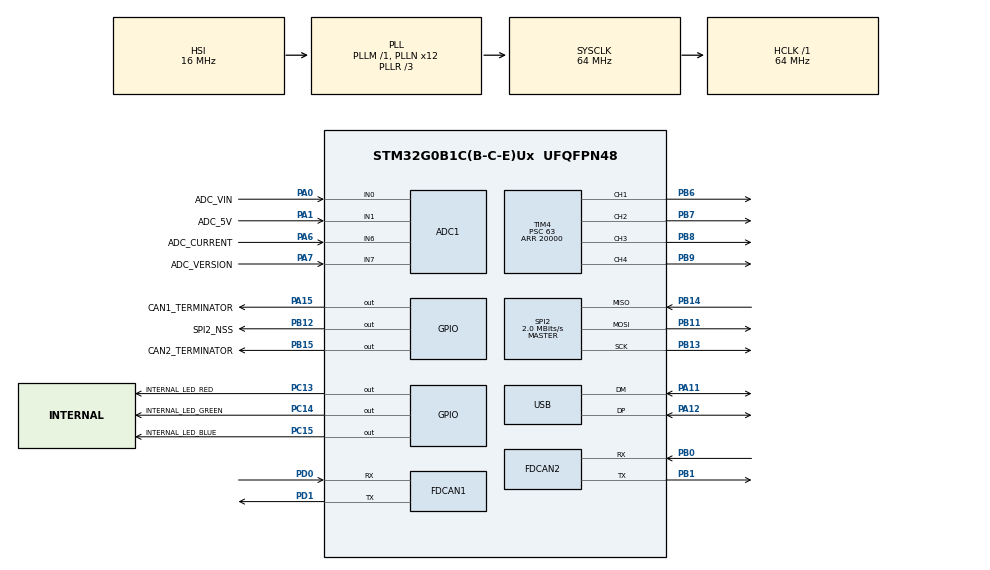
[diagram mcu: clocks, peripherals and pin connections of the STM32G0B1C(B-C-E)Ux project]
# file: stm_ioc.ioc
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ADC1.Channel-0\#ChannelRegularConversion=ADC_CHANNEL_0
ADC1.Channel-1\#ChannelRegularConversion=ADC_CHANNEL_1
ADC1.Channel-2\#ChannelRegularConversion=ADC_CHANNEL_6
ADC1.Channel-3\#ChannelRegularConversion=ADC_CHANNEL_7
ADC1.Channel-4\#ChannelRegularConversion=ADC_CHANNEL_TEMPSENSOR
ADC1.NbrOfConversion=5
ADC1.NbrOfConversionFlag=1
ADC1.Rank-0\#ChannelRegularConversion=1
ADC1.Rank-1\#ChannelRegularConversion=2
ADC1.Rank-2\#ChannelRegularConversion=3
ADC1.Rank-3\#ChannelRegularConversion=4
ADC1.Rank-4\#ChannelRegularConversion=5
ADC1.SamplingTime-0\#ChannelRegularConversion=ADC_SAMPLINGTIME_COMMON_1
ADC1.SamplingTime-1\#ChannelRegularConversion=ADC_SAMPLINGTIME_COMMON_1
ADC1.SamplingTime-2\#ChannelRegularConversion=ADC_SAMPLINGTIME_COMMON_1
ADC1.SamplingTime-3\#ChannelRegularConversion=ADC_SAMPLINGTIME_COMMON_1
ADC1.SamplingTime-4\#ChannelRegularConversion=ADC_SAMPLINGTIME_COMMON_1
ADC1.SamplingTimeCommon1=ADC_SAMPLETIME_79CYCLES_5
ADC1.SamplingTimeCommon2=ADC_SAMPLETIME_79CYCLES_5
ADC1.SelectedChannel=ADC_CHANNEL_0|ADC_CHANNEL_1|ADC_CHANNEL_6|ADC_CHANNEL_7|ADC_CHANNEL_TEMPSENSOR
ADC1.master=1
Dma.ADC1.0.Direction=DMA_PERIPH_TO_MEMORY
Dma.ADC1.0.EventEnable=DISABLE
Dma.ADC1.0.Instance=DMA1_Channel1
Dma.ADC1.0.MemDataAlignment=DMA_MDATAALIGN_HALFWORD
Dma.ADC1.0.MemInc=DMA_MINC_ENABLE
Dma.ADC1.0.Mode=DMA_CIRCULAR
Dma.ADC1.0.PeriphDataAlignment=DMA_PDATAALIGN_HALFWORD
Dma.ADC1.0.PeriphInc=DMA_PINC_DISABLE
Dma.ADC1.0.Polarity=HAL_DMAMUX_REQ_GEN_RISING
Dma.ADC1.0.Priority=DMA_PRIORITY_LOW
Dma.ADC1.0.RequestNumber=1
Dma.ADC1.0.SignalID=NONE
Dma.ADC1.0.SyncEnable=DISABLE
Dma.ADC1.0.SyncPolarity=HAL_DMAMUX_SYNC_NO_EVENT
Dma.ADC1.0.SyncRequestNumber=1
Dma.ADC1.0.SyncSignalID=NONE
Dma.Request0=ADC1
FDCAN1.AutoRetransmission=DISABLE
FDCAN1.CalculateBaudRateNominal=1000000
FDCAN1.CalculateTimeBitNominal=1000
FDCAN1.CalculateTimeQuantumNominal=62.5
FDCAN1.ClockDivider=FDCAN_CLOCK_DIV1
FDCAN1.DataPrescaler=1
FDCAN1.DataSyncJumpWidth=1
FDCAN1.DataTimeSeg1=1
FDCAN1.DataTimeSeg2=1
FDCAN1.ExtFiltersNbr=0
FDCAN1.FrameFormat=FDCAN_FRAME_CLASSIC
FDCAN1.Mode=FDCAN_MODE_NORMAL
FDCAN1.NominalPrescaler=4
FDCAN1.NominalSyncJumpWidth=1
FDCAN1.NominalTimeSeg1=13
FDCAN1.NominalTimeSeg2=2
FDCAN1.TransmitPause=ENABLE
FDCAN1.TxFifoQueueMode=FDCAN_TX_FIFO_OPERATION
FDCAN2.AutoRetransmission=DISABLE
FDCAN2.CalculateBaudRateNominal=1000000
FDCAN2.CalculateTimeBitNominal=1000
FDCAN2.CalculateTimeQuantumNominal=62.5
FDCAN2.DataSyncJumpWidth=1
FDCAN2.ExtFiltersNbr=0
FDCAN2.Mode=FDCAN_MODE_NORMAL
FDCAN2.NominalPrescaler=4
FDCAN2.NominalTimeSeg1=13
FDCAN2.ProtocolException=DISABLE
FDCAN2.TransmitPause=DISABLE
IWDG.Prescaler=IWDG_PRESCALER_4
Mcu.Family=STM32G0
Mcu.Name=STM32G0B1C(B-C-E)Ux
Mcu.Package=UFQFPN48
NVIC.DMA1_Channel1_IRQn=true\:0\:0\:false\:false\:true\:false\:true\:true
NVIC.TIM16_FDCAN_IT0_IRQn=true\:0\:0\:false\:false\:true\:true\:true\:true
NVIC.TIM17_FDCAN_IT1_IRQn=true\:0\:0\:false\:false\:true\:true\:true\:true
NVIC.TIM1_BRK_UP_TRG_COM_IRQn=true\:3\:0\:false\:false\:true\:false\:true\:true
NVIC.TimeBase=TIM1_BRK_UP_TRG_COM_IRQn
NVIC.TimeBaseIP=TIM1
NVIC.USB_UCPD1_2_IRQn=true\:1\:0\:true\:false\:true\:true\:true\:true
PA0.GPIO_Label=ADC_VIN
PA0.Mode=IN0
PA0.Signal=ADC1_IN0
PA1.GPIO_Label=ADC_5V
PA1.Mode=IN1
PA1.Signal=ADC1_IN1
PA11\ [PA9].Mode=Device
PA11\ [PA9].Signal=USB_DM
PA12\ [PA10].Mode=Device
PA12\ [PA10].Signal=USB_DP
PA13.Mode=Serial_Wire
PA13.Signal=SYS_SWDIO
PA14-BOOT0.Mode=Serial_Wire
PA14-BOOT0.Signal=SYS_SWCLK
PA15.GPIO_Label=CAN1_TERMINATOR
PA15.Signal=GPIO_Output
PA6.GPIO_Label=ADC_CURRENT
PA6.Mode=IN6
PA6.Signal=ADC1_IN6
PA7.GPIO_Label=ADC_VERSION
PA7.Mode=IN7
PA7.Signal=ADC1_IN7
PB0.Mode=FDCAN_Activate
PB0.Signal=FDCAN2_RX
PB1.Mode=FDCAN_Activate
PB1.Signal=FDCAN2_TX
PB11.Mode=Full_Duplex_Master
PB11.Signal=SPI2_MOSI
PB12.GPIO_Label=SPI2_NSS
PB12.Signal=GPIO_Output
PB13.Mode=Full_Duplex_Master
PB13.Signal=SPI2_SCK
PB14.Mode=Full_Duplex_Master
PB14.Signal=SPI2_MISO
PB15.GPIO_Label=CAN2_TERMINATOR
PB15.Signal=GPIO_Output
PB6.Signal=S_TIM4_CH1
PB7.Signal=S_TIM4_CH2
PB8.Signal=S_TIM4_CH3
PB9.Signal=S_TIM4_CH4
PC13.GPIO_Label=INTERNAL_LED_RED
PC13.Signal=GPIO_Output
PC14-OSC32_IN\ (PC14).GPIO_Label=INTERNAL_LED_GREEN
PC14-OSC32_IN\ (PC14).Signal=GPIO_Output
PC15-OSC32_OUT\ (PC15).GPIO_Label=INTERNAL_LED_BLUE
PC15-OSC32_OUT\ (PC15).Signal=GPIO_Output
PD0.Mode=FDCAN_Activate
PD0.Signal=FDCAN1_RX
PD1.Mode=FDCAN_Activate
PD1.Signal=FDCAN1_TX
ProjectManager.HeapSize=0x200
ProjectManager.StackSize=0x400
ProjectManager.TargetToolchain=Makefile
RCC.ADCFreq_Value=64000000
RCC.AHBFreq_Value=64000000
RCC.CortexFreq_Value=64000000
RCC.EXTERNAL_CLOCK_VALUE=48000
RCC.HCLKFreq_Value=64000000
RCC.HSE_VALUE=8000000
RCC.HSI48_VALUE=48000000
RCC.HSI_VALUE=16000000
RCC.LSE_VALUE=32768
RCC.PLLN=12
RCC.PLLQ=RCC_PLLQ_DIV4
RCC.PLLR=RCC_PLLR_DIV3
RCC.SYSCLKFreq_VALUE=64000000
RCC.SYSCLKSource=RCC_SYSCLKSOURCE_PLLCLK
RCC.USBCLockSelection=RCC_USBCLKSOURCE_PLL
RCC.USBFreq_Value=48000000
RCC.VCOOutputFreq_Value=192000000
SH.S_TIM4_CH1.0=TIM4_CH1,PWM Generation1 CH1
SH.S_TIM4_CH2.0=TIM4_CH2,PWM Generation2 CH2
SH.S_TIM4_CH3.0=TIM4_CH3,Forced Output3 CH3
SH.S_TIM4_CH4.0=TIM4_CH4,PWM Generation4 CH4
SPI2.BaudRatePrescaler=SPI_BAUDRATEPRESCALER_32
SPI2.CalculateBaudRate=2.0 MBits/s
SPI2.Direction=SPI_DIRECTION_2LINES
SPI2.Mode=SPI_MODE_MASTER
SPI2.VirtualType=VM_MASTER
TIM4.Channel-Forced\ Output3\ CH3=TIM_CHANNEL_3
TIM4.Channel-PWM\ Generation1\ CH1=TIM_CHANNEL_1
TIM4.Channel-PWM\ Generation2\ CH2=TIM_CHANNEL_2
TIM4.Channel-PWM\ Generation4\ CH4=TIM_CHANNEL_4
TIM4.Period=20000
TIM4.Prescaler=63
USB_DEVICE.APP_RX_DATA_SIZE=1024
USB_DEVICE.APP_TX_DATA_SIZE=1024
USB_DEVICE.CLASS_NAME_FS=CDC
USB_DEVICE.MANUFACTURER_STRING=RaccoonLab
USB_DEVICE.PRODUCT_STRING_CDC_FS=STM32 CanAdapter
USB_DEVICE.USBD_DEBUG_LEVEL=3
USB_DEVICE.USBD_LPM_ENABLED=0
USB_DEVICE.USBD_MAX_NUM_CONFIGURATION=1
USB_DEVICE.USBD_MAX_NUM_INTERFACES=2
USB_DEVICE.USBD_SELF_POWERED=0
USB_DEVICE.VirtualMode=Cdc
USB_DEVICE.VirtualModeFS=Cdc_FS
USB_DRD_FS.Sof_enable=ENABLE
USB_DRD_FS.iso_singlebuffer_enable=DISABLE
VP_ADC1_TempSens_Input.Mode=IN-TempSens
VP_IWDG_VS_IWDG.Mode=IWDG_Activate
VP_RCC_USB.Mode=CRS SYNC Source USB
VP_SYS_VS_DBSignals.Mode=DisableDeadBatterySignals
VP_SYS_VS_tim1.Mode=TIM1
VP_TIM4_VS_ClockSourceINT.Mode=Internal
VP_USB_DEVICE_VS_USB_DEVICE_CDC_FS.Mode=CDC_FS
board=custom

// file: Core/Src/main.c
/* USER CODE BEGIN Header */
/* USER CODE END Header */
#include "main.h"
#include "adc.h"
#include "dma.h"
#include "fdcan.h"
#include "iwdg.h"
#include "spi.h"
#include "tim.h"
#include "usb_device.h"
#include "gpio.h"

/* USER CODE BEGIN Includes */
#include "application.hpp"
/* USER CODE END Includes */

/* USER CODE BEGIN PD */
#define USE_USBD_COMPOSITE 1U

/* USER CODE END PD */

void SystemClock_Config(void);
/* USER CODE BEGIN PFP */
void application_entry_point(void);
/* USER CODE END PFP */

int main(void)
{

  /* MCU Configuration--------------------------------------------------------*/

  /* Reset of all peripherals, Initializes the Flash interface and the Systick. */
  HAL_Init();

  /* Configure the system clock */
  SystemClock_Config();

  /* Initialize all configured peripherals */
  MX_GPIO_Init();
  MX_DMA_Init();
  MX_FDCAN1_Init();
  MX_ADC1_Init();
  MX_FDCAN2_Init();
  MX_TIM4_Init();
  MX_SPI2_Init();
  MX_IWDG_Init();
  MX_USB_Device_Init();
  /* USER CODE BEGIN 2 */

  // HAL_FDCAN_ConfigExtendedIdMask(&hfdcan1, 0x1FFFFFFFU);
  // HAL_FDCAN_ConfigExtendedIdMask(&hfdcan2, 0x1FFFFFFFU);
  HAL_FDCAN_ConfigInterruptLines(&hfdcan1, FDCAN_IT_GROUP_RX_FIFO0 | FDCAN_IT_GROUP_RX_FIFO1,
                                            FDCAN_INTERRUPT_LINE0);
  HAL_FDCAN_ConfigInterruptLines(&hfdcan2, FDCAN_IT_GROUP_RX_FIFO0, FDCAN_INTERRUPT_LINE1);

  // if (HAL_FDCAN_ConfigGlobalFilter(&hfdcan1, FDCAN_REJECT, FDCAN_REJECT,
  //                                            FDCAN_FILTER_REMOTE, FDCAN_FILTER_REMOTE) != HAL_OK) {
  //   Error_Handler();
  // }

  // Activate CAN RX notifications
  HAL_FDCAN_ActivateNotification(&hfdcan1,
                                  FDCAN_IT_RX_FIFO0_NEW_MESSAGE | FDCAN_IT_RX_FIFO1_NEW_MESSAGE
                                  | FDCAN_IT_ERROR_WARNING | FDCAN_IT_ERROR_PASSIVE
                                  | FDCAN_IT_BUS_OFF, 0);
  HAL_FDCAN_ActivateNotification(&hfdcan2,
                                  FDCAN_IT_RX_FIFO0_NEW_MESSAGE |FDCAN_IT_RX_FIFO1_NEW_MESSAGE
                                  | FDCAN_IT_ERROR_WARNING | FDCAN_IT_ERROR_PASSIVE
                                  | FDCAN_IT_BUS_OFF, 0);

  // Start CAN reception
  HAL_FDCAN_Start(&hfdcan1);
  HAL_FDCAN_Start(&hfdcan2);

  /*
    TODO:
    1. Check HAL_FDCAN_ConfigRamWatchdog
    2. HAL_FDCAN_AddMessageToTxFifoQ
    3. HAL_FDCAN_ConfigRxFifoOverwrite
  */

  /* USER CODE END 2 */

  /* Infinite loop */
  /* USER CODE BEGIN WHILE */
  application_entry_point();
    /* USER CODE END WHILE */

}

void SystemClock_Config(void)
{
  RCC_OscInitTypeDef RCC_OscInitStruct = {0};
  RCC_ClkInitTypeDef RCC_ClkInitStruct = {0};
  RCC_CRSInitTypeDef pInit = {0};

  /** Configure the main internal regulator output voltage
  */
  HAL_PWREx_ControlVoltageScaling(PWR_REGULATOR_VOLTAGE_SCALE1);

  /** Initializes the RCC Oscillators according to the specified parameters
  * in the RCC_OscInitTypeDef structure.
  */
  RCC_OscInitStruct.OscillatorType = RCC_OSCILLATORTYPE_HSI|RCC_OSCILLATORTYPE_LSI
                              |RCC_OSCILLATORTYPE_HSI48;
  RCC_OscInitStruct.HSIState = RCC_HSI_ON;
  RCC_OscInitStruct.HSI48State = RCC_HSI48_ON;
  RCC_OscInitStruct.HSIDiv = RCC_HSI_DIV1;
  RCC_OscInitStruct.HSICalibrationValue = RCC_HSICALIBRATION_DEFAULT;
  RCC_OscInitStruct.LSIState = RCC_LSI_ON;
  RCC_OscInitStruct.PLL.PLLState = RCC_PLL_ON;
  RCC_OscInitStruct.PLL.PLLSource = RCC_PLLSOURCE_HSI;
  RCC_OscInitStruct.PLL.PLLM = RCC_PLLM_DIV1;
  RCC_OscInitStruct.PLL.PLLN = 12;
  RCC_OscInitStruct.PLL.PLLP = RCC_PLLP_DIV2;
  RCC_OscInitStruct.PLL.PLLQ = RCC_PLLQ_DIV4;
  RCC_OscInitStruct.PLL.PLLR = RCC_PLLR_DIV3;
  if (HAL_RCC_OscConfig(&RCC_OscInitStruct) != HAL_OK)
  {
    Error_Handler();
  }

  /** Initializes the CPU, AHB and APB buses clocks
  */
  RCC_ClkInitStruct.ClockType = RCC_CLOCKTYPE_HCLK|RCC_CLOCKTYPE_SYSCLK
                              |RCC_CLOCKTYPE_PCLK1;
  RCC_ClkInitStruct.SYSCLKSource = RCC_SYSCLKSOURCE_PLLCLK;
  RCC_ClkInitStruct.AHBCLKDivider = RCC_SYSCLK_DIV1;
  RCC_ClkInitStruct.APB1CLKDivider = RCC_HCLK_DIV1;

  if (HAL_RCC_ClockConfig(&RCC_ClkInitStruct, FLASH_LATENCY_2) != HAL_OK)
  {
    Error_Handler();
  }

  /** Enable the SYSCFG APB clock
  */
  __HAL_RCC_CRS_CLK_ENABLE();

  /** Configures CRS
  */
  pInit.Prescaler = RCC_CRS_SYNC_DIV1;
  pInit.Source = RCC_CRS_SYNC_SOURCE_USB;
  pInit.Polarity = RCC_CRS_SYNC_POLARITY_RISING;
  pInit.ReloadValue = __HAL_RCC_CRS_RELOADVALUE_CALCULATE(48000000,1000);
  pInit.ErrorLimitValue = 34;
  pInit.HSI48CalibrationValue = 32;

  HAL_RCCEx_CRSConfig(&pInit);
}

void HAL_TIM_PeriodElapsedCallback(TIM_HandleTypeDef *htim)
{
  if (htim->Instance == TIM1) {
    HAL_IncTick();
  }
}

void Error_Handler(void)
{
}
